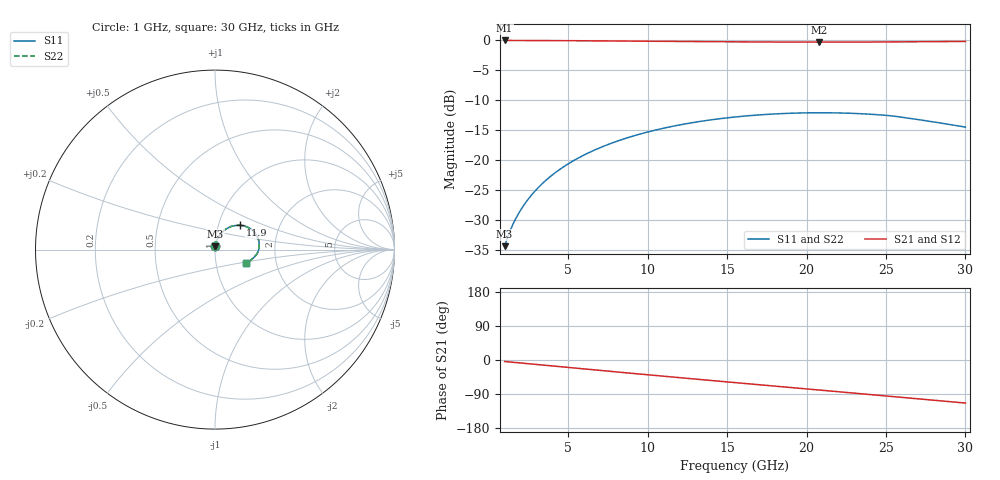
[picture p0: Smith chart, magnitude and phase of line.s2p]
! Created Mon Nov 11 18:42:43 2024
# hz S ma R 50
! 2 Port Network Data from SP1.SP block
! freq  magS11  angS11  magS21  angS21  magS12  angS12  magS22  angS22
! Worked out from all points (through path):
!   2901 points, 1 GHz to 30 GHz, reference 50 ohm
!   highest |S21| = 0.00 dB at 1 GHz (marker M1); lowest = -0.3 dB at 20.8 GHz (marker M2)
!   group delay of S21, straight-line fit = 10.4 ps
!   lowest |S11| = -34.4 dB at 1 GHz (marker M3), VSWR 1.04, Z = 50.1 + j1.91 ohm
!   |S11| at or under -10 dB: start of sweep to end of sweep
!   |S22| runs from -34.4 to -12.1 dB; largest |S21 - S12| = 0
!   S11 on the Smith chart (normalised r, x): 1 GHz: 1.00, +0.04; 11.9 GHz: 1.27, +0.36; 30 GHz: 1.40, -0.22
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1e9  0.01909 86.0  0.9998 -3.9  0.9998 -3.9  0.01909 86.1
1.46e9  0.02783 84.2  0.9996 -5.8  0.9996 -5.8  0.02783 84.3
1.82e9  0.03465 82.8  0.9994 -7.2  0.9994 -7.2  0.03465 82.8
2.28e9  0.04332 81.0  0.9991 -9.0  0.9991 -9.0  0.04332 81.0
2.81e9  0.05323 78.9  0.9986 -11.1  0.9986 -11.1  0.05323 79.0
3.44e9  0.06489 76.4  0.9979 -13.5  0.9979 -13.5  0.06489 76.5
4.15e9  0.07783 73.6  0.997 -16.3  0.997 -16.3  0.07783 73.7
4.95e9  0.09211 70.5  0.9957 -19.5  0.9957 -19.5  0.09211 70.6
5.84e9  0.1076 67.0  0.9942 -22.9  0.9942 -22.9  0.1076 67.1
6.89e9  0.1251 62.9  0.9921 -27.0  0.9921 -27.0  0.1251 63.1
8.05e9  0.1435 58.4  0.9897 -31.5  0.9897 -31.5  0.1435 58.6
1.067e10  0.1805 48.3  0.9836 -41.5  0.9836 -41.5  0.1805 48.6
1.19e10  0.1955 43.7  0.9807 -46.2  0.9807 -46.2  0.1955 43.9
1.37e10  0.2143 36.9  0.9768 -53.0  0.9768 -53.0  0.2143 37.2
1.55e10  0.2292 30.1  0.9734 -59.7  0.9734 -59.7  0.2292 30.5
1.792e10  0.2428 21.1  0.9701 -68.7  0.9701 -68.7  0.2428 21.5
2.034e10  0.2486 12.2  0.9686 -77.6  0.9686 -77.6  0.2486 12.6
2.08e10  0.2488 10.5  0.9685 -79.3  0.9685 -79.3  0.2488 10.9
2.3e10  0.2456 2.4  0.9693 -87.4  0.9693 -87.4  0.2456 2.8
2.517e10  0.2356 -5.7  0.9718 -95.4  0.9718 -95.4  0.2356 -5.2
2.754e10  0.213 -14.7  0.9766 -104.4  0.9766 -104.4  0.213 -14.2
3e10  0.1887 -24.0  0.9817 -113.6  0.9817 -113.6  0.1887 -23.5
